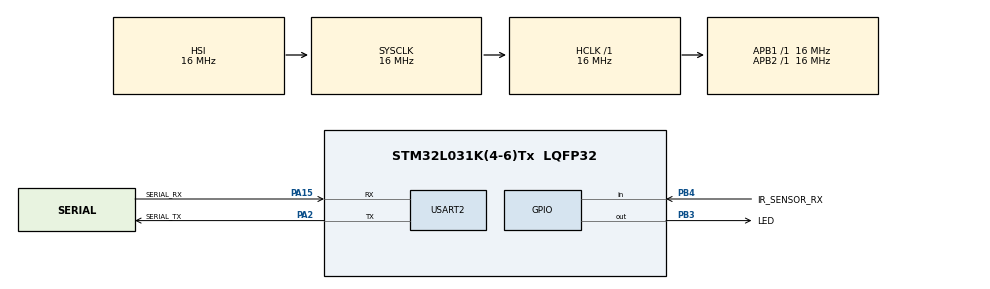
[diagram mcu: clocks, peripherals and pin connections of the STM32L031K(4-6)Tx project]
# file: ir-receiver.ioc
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Mcu.Family=STM32L0
Mcu.Name=STM32L031K(4-6)Tx
Mcu.Package=LQFP32
PA13.GPIO_Label=TMS
PA13.Mode=Serial_Wire
PA13.Signal=SYS_SWDIO
PA14.GPIO_Label=TCK
PA14.Mode=Serial_Wire
PA14.Signal=SYS_SWCLK
PA15.GPIO_Label=SERIAL_RX
PA15.Mode=Asynchronous
PA15.Signal=USART2_RX
PA2.GPIO_Label=SERIAL_TX
PA2.Mode=Asynchronous
PA2.Signal=USART2_TX
PB3.GPIO_Label=LED
PB3.Signal=GPIO_Output
PB4.GPIO_Label=IR_SENSOR_RX
PB4.Signal=GPIO_Input
PC14-OSC32_IN.Mode=LSE-External-Oscillator
PC14-OSC32_IN.Signal=RCC_OSC32_IN
PC15-OSC32_OUT.Mode=LSE-External-Oscillator
PC15-OSC32_OUT.Signal=RCC_OSC32_OUT
ProjectManager.HeapSize=0x200
ProjectManager.StackSize=0x400
ProjectManager.TargetToolchain=Makefile
RCC.AHBFreq_Value=16000000
RCC.APB1Freq_Value=16000000
RCC.APB1TimFreq_Value=16000000
RCC.APB2Freq_Value=16000000
RCC.APB2TimFreq_Value=16000000
RCC.HCLKFreq_Value=16000000
RCC.HSE_VALUE=8000000
RCC.HSI16_VALUE=16000000
RCC.HSI48_VALUE=48000000
RCC.HSI_VALUE=16000000
RCC.MSI_VALUE=2097000
RCC.PLLMUL=RCC_PLLMUL_4
RCC.SYSCLKFreq_VALUE=16000000
RCC.SYSCLKSource=RCC_SYSCLKSOURCE_HSI
RCC.VCOOutputFreq_Value=64000000
USART2.VirtualMode-Asynchronous=VM_ASYNC
VP_TIM21_VS_ClockSourceINT.Mode=Internal
VP_TIM2_VS_ClockSourceINT.Mode=Internal
board=NUCLEO-L031K6

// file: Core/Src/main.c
/* USER CODE BEGIN Header */
/**
  ******************************************************************************
  * @file           : main.c
  * @brief          : Main program body
  ******************************************************************************
  * @attention
  *
  * Copyright (c) 2024 STMicroelectronics.
  * All rights reserved.
  *
  * This software is licensed under terms that can be found in the LICENSE file
  * in the root directory of this software component.
  * If no LICENSE file comes with this software, it is provided AS-IS.
  *
  ******************************************************************************
  */
/* USER CODE END Header */
#include "main.h"

/* USER CODE BEGIN Includes */
#include "rebar.h"
#include "trace.h"
#include "system_time.h"
#include "gpio-interrupt.h"
/* USER CODE END Includes */

TIM_HandleTypeDef htim2;
TIM_HandleTypeDef htim21;

UART_HandleTypeDef huart2;

void SystemClock_Config(void);
static void MX_GPIO_Init(void);
static void MX_TIM2_Init(void);
static void MX_TIM21_Init(void);
static void MX_USART2_UART_Init(void);

/* USER CODE BEGIN 0 */

#define MAX_GPIO_RISING_INTERRUPT_PINS	1
static GpioInterruptContext _risingInterruptContext[MAX_GPIO_RISING_INTERRUPT_PINS];

#define MAX_GPIO_FALLING_INTERRUPT_PINS	1
static GpioInterruptContext _fallingInterruptContext[MAX_GPIO_FALLING_INTERRUPT_PINS];

static Error App_Initialize(void) {

	Error error = Trace_Initialize(&huart2, TraceLevel_Debug);
	if (error) {
	//do something
	}

	error = GpioInterrupt_Initialize(_risingInterruptContext, ARRAY_SIZE(_risingInterruptContext),
									_fallingInterruptContext, ARRAY_SIZE(_fallingInterruptContext));
	if (error) {
		//do something
	}

	return Error_None;
}
/* USER CODE END 0 */

int main(void)
{

  /* MCU Configuration--------------------------------------------------------*/

  /* Reset of all peripherals, Initializes the Flash interface and the Systick. */
  HAL_Init();

  /* Configure the system clock */
  SystemClock_Config();

  /* Initialize all configured peripherals */
  MX_GPIO_Init();
  MX_TIM2_Init();
  MX_TIM21_Init();
  MX_USART2_UART_Init();
  /* USER CODE BEGIN 2 */

	App_Initialize();

  /* USER CODE END 2 */

  /* Infinite loop */
  /* USER CODE BEGIN WHILE */
  TimeStamp now = 0;
  TimeStamp elapsed = 0;

  while (1)
  {

	SystemTime_GetMillisecondsSince(now, &elapsed);

	if (elapsed >= 1000) {

    HAL_GPIO_TogglePin(LED_GPIO_Port, LED_Pin);
	  TRACE_DEBUG("Now = %d, elapsed = %d", now, elapsed);
	  SystemTime_GetTimeStampMs(&now);
	}

	/* USER CODE END WHILE */

  }
}

void SystemClock_Config(void)
{
  RCC_OscInitTypeDef RCC_OscInitStruct = {0};
  RCC_ClkInitTypeDef RCC_ClkInitStruct = {0};
  RCC_PeriphCLKInitTypeDef PeriphClkInit = {0};

  /** Configure the main internal regulator output voltage
  */
  __HAL_PWR_VOLTAGESCALING_CONFIG(PWR_REGULATOR_VOLTAGE_SCALE1);

  /** Initializes the RCC Oscillators according to the specified parameters
  * in the RCC_OscInitTypeDef structure.
  */
  RCC_OscInitStruct.OscillatorType = RCC_OSCILLATORTYPE_HSI;
  RCC_OscInitStruct.HSIState = RCC_HSI_ON;
  RCC_OscInitStruct.HSICalibrationValue = RCC_HSICALIBRATION_DEFAULT;
  RCC_OscInitStruct.PLL.PLLState = RCC_PLL_NONE;
  if (HAL_RCC_OscConfig(&RCC_OscInitStruct) != HAL_OK)
  {
	Error_Handler();
  }

  /** Initializes the CPU, AHB and APB buses clocks
  */
  RCC_ClkInitStruct.ClockType = RCC_CLOCKTYPE_HCLK|RCC_CLOCKTYPE_SYSCLK
							  |RCC_CLOCKTYPE_PCLK1|RCC_CLOCKTYPE_PCLK2;
  RCC_ClkInitStruct.SYSCLKSource = RCC_SYSCLKSOURCE_HSI;
  RCC_ClkInitStruct.AHBCLKDivider = RCC_SYSCLK_DIV1;
  RCC_ClkInitStruct.APB1CLKDivider = RCC_HCLK_DIV1;
  RCC_ClkInitStruct.APB2CLKDivider = RCC_HCLK_DIV1;

  if (HAL_RCC_ClockConfig(&RCC_ClkInitStruct, FLASH_LATENCY_0) != HAL_OK)
  {
	Error_Handler();
  }
  PeriphClkInit.PeriphClockSelection = RCC_PERIPHCLK_USART2;
  PeriphClkInit.Usart2ClockSelection = RCC_USART2CLKSOURCE_PCLK1;
  if (HAL_RCCEx_PeriphCLKConfig(&PeriphClkInit) != HAL_OK)
  {
	Error_Handler();
  }
}

static void MX_TIM2_Init(void)
{

  TIM_ClockConfigTypeDef sClockSourceConfig = {0};
  TIM_MasterConfigTypeDef sMasterConfig = {0};

  htim2.Instance = TIM2;
  htim2.Init.Prescaler = 0;
  htim2.Init.CounterMode = TIM_COUNTERMODE_UP;
  htim2.Init.Period = 65535;
  htim2.Init.ClockDivision = TIM_CLOCKDIVISION_DIV1;
  htim2.Init.AutoReloadPreload = TIM_AUTORELOAD_PRELOAD_DISABLE;
  if (HAL_TIM_Base_Init(&htim2) != HAL_OK)
  {
	Error_Handler();
  }
  sClockSourceConfig.ClockSource = TIM_CLOCKSOURCE_INTERNAL;
  if (HAL_TIM_ConfigClockSource(&htim2, &sClockSourceConfig) != HAL_OK)
  {
	Error_Handler();
  }
  sMasterConfig.MasterOutputTrigger = TIM_TRGO_RESET;
  sMasterConfig.MasterSlaveMode = TIM_MASTERSLAVEMODE_DISABLE;
  if (HAL_TIMEx_MasterConfigSynchronization(&htim2, &sMasterConfig) != HAL_OK)
  {
	Error_Handler();
  }

}

static void MX_TIM21_Init(void)
{

  TIM_ClockConfigTypeDef sClockSourceConfig = {0};
  TIM_MasterConfigTypeDef sMasterConfig = {0};

  htim21.Instance = TIM21;
  htim21.Init.Prescaler = 0;
  htim21.Init.CounterMode = TIM_COUNTERMODE_UP;
  htim21.Init.Period = 65535;
  htim21.Init.ClockDivision = TIM_CLOCKDIVISION_DIV1;
  htim21.Init.AutoReloadPreload = TIM_AUTORELOAD_PRELOAD_DISABLE;
  if (HAL_TIM_Base_Init(&htim21) != HAL_OK)
  {
	Error_Handler();
  }
  sClockSourceConfig.ClockSource = TIM_CLOCKSOURCE_INTERNAL;
  if (HAL_TIM_ConfigClockSource(&htim21, &sClockSourceConfig) != HAL_OK)
  {
	Error_Handler();
  }
  sMasterConfig.MasterOutputTrigger = TIM_TRGO_RESET;
  sMasterConfig.MasterSlaveMode = TIM_MASTERSLAVEMODE_DISABLE;
  if (HAL_TIMEx_MasterConfigSynchronization(&htim21, &sMasterConfig) != HAL_OK)
  {
	Error_Handler();
  }

}

static void MX_USART2_UART_Init(void)
{

  huart2.Instance = USART2;
  huart2.Init.BaudRate = 115200;
  huart2.Init.WordLength = UART_WORDLENGTH_8B;
  huart2.Init.StopBits = UART_STOPBITS_1;
  huart2.Init.Parity = UART_PARITY_NONE;
  huart2.Init.Mode = UART_MODE_TX_RX;
  huart2.Init.HwFlowCtl = UART_HWCONTROL_NONE;
  huart2.Init.OverSampling = UART_OVERSAMPLING_16;
  huart2.Init.OneBitSampling = UART_ONE_BIT_SAMPLE_DISABLE;
  huart2.AdvancedInit.AdvFeatureInit = UART_ADVFEATURE_NO_INIT;
  if (HAL_UART_Init(&huart2) != HAL_OK)
  {
	Error_Handler();
  }

}

static void MX_GPIO_Init(void)
{
  GPIO_InitTypeDef GPIO_InitStruct = {0};

  /* GPIO Ports Clock Enable */
  __HAL_RCC_GPIOC_CLK_ENABLE();
  __HAL_RCC_GPIOA_CLK_ENABLE();
  __HAL_RCC_GPIOB_CLK_ENABLE();

  /*Configure GPIO pin Output Level */
  HAL_GPIO_WritePin(LED_GPIO_Port, LED_Pin, GPIO_PIN_RESET);

  /*Configure GPIO pin : LED_Pin */
  GPIO_InitStruct.Pin = LED_Pin;
  GPIO_InitStruct.Mode = GPIO_MODE_OUTPUT_PP;
  GPIO_InitStruct.Pull = GPIO_NOPULL;
  GPIO_InitStruct.Speed = GPIO_SPEED_FREQ_LOW;
  HAL_GPIO_Init(LED_GPIO_Port, &GPIO_InitStruct);

  /*Configure GPIO pin : IR_SENSOR_RX_Pin */
  GPIO_InitStruct.Pin = IR_SENSOR_RX_Pin;
  GPIO_InitStruct.Mode = GPIO_MODE_INPUT;
  GPIO_InitStruct.Pull = GPIO_NOPULL;
  HAL_GPIO_Init(IR_SENSOR_RX_GPIO_Port, &GPIO_InitStruct);

}

void Error_Handler(void)
{
  __disable_irq();
  while (1)
  {
  }
}
